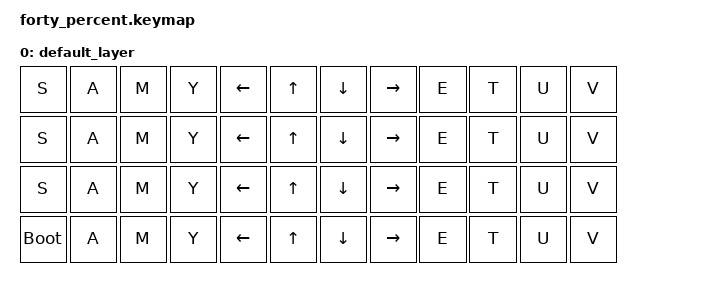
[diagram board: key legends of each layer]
/*
 * Copyright (c) 2020 The ZMK Contributors
 *
 * SPDX-License-Identifier: MIT
 */

#include <behaviors.dtsi>
#include <dt-bindings/zmk/keys.h>

/ {
    keymap {
        compatible = "zmk,keymap";

        default_layer {
            bindings = <
            &kp S &kp A &kp M &kp Y &kp LEFT &kp UP &kp DOWN &kp RIGHT &kp E &kp T &kp U &kp V
            &kp S &kp A &kp M &kp Y &kp LEFT &kp UP &kp DOWN &kp RIGHT &kp E &kp T &kp U &kp V
            &kp S &kp A &kp M &kp Y &kp LEFT &kp UP &kp DOWN &kp RIGHT &kp E &kp T &kp U &kp V
            &bootloader &kp A &kp M &kp Y &kp LEFT &kp UP &kp DOWN &kp RIGHT &kp E &kp T &kp U &kp V
            >;
        };
    };
};
